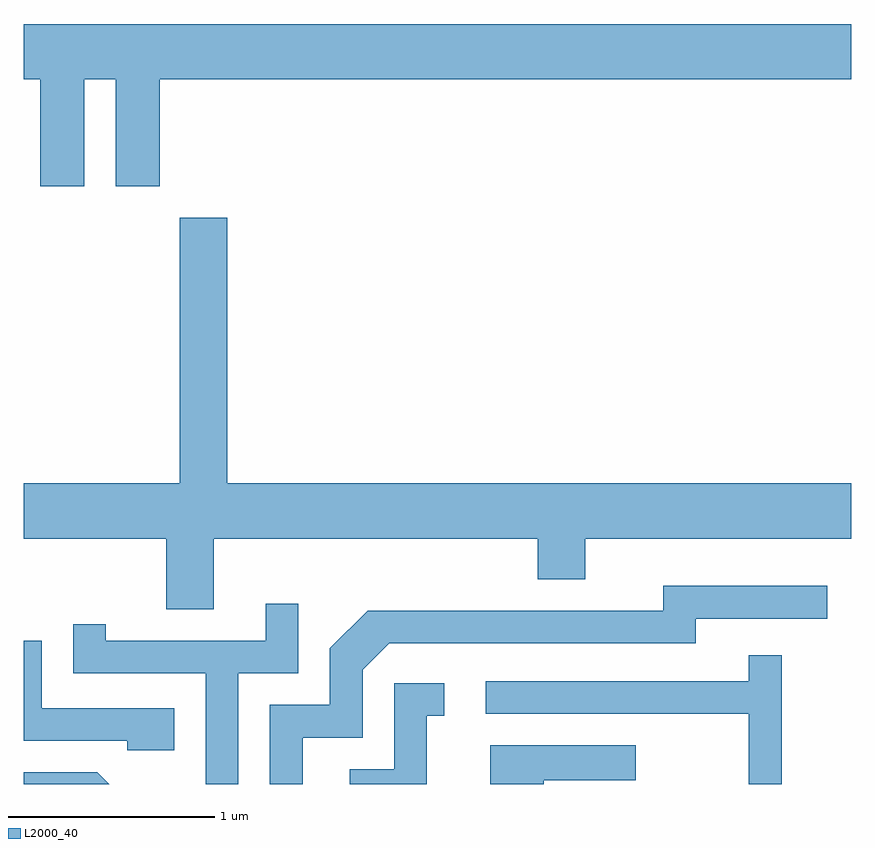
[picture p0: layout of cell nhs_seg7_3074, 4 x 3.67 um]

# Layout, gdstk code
import gdstk
lib = gdstk.Library(unit=1e-6, precision=1e-09)
def P(c, l, *ps):  # polygons
    for p in ps: c.add(gdstk.Polygon(p, *l))
L2000_40 = (2000, 40)

nhs_seg7_3074 = lib.new_cell('nhs_seg7_3074')
P(nhs_seg7_3074, L2000_40, [(279.904,1707.656),(280.056,1707.656),(280.056,1707.141),(280.269,1707.141),(280.269,1707.656),(283.611,1707.656),(283.611,1707.924),(279.611,1707.924),(279.611,1707.656),(279.691,1707.656),(279.691,1707.141),(279.904,1707.141)],
  [(280.529,1705.436),(282.096,1705.436),(282.096,1705.241),(282.324,1705.241),(282.324,1705.436),(283.611,1705.436),(283.611,1705.704),(280.594,1705.704),(280.594,1706.989),(280.366,1706.989),(280.366,1705.704),(279.611,1705.704),(279.611,1705.436),(280.301,1705.436),(280.301,1705.096),(280.529,1705.096)],
  [(280.959,1704.476),(281.249,1704.476),(281.249,1704.804),(281.377,1704.931),(282.859,1704.931),(282.859,1705.051),(283.493,1705.051),(283.493,1705.209),(282.701,1705.209),(282.701,1705.089),(281.274,1705.089),(281.091,1704.907),(281.091,1704.634),(280.801,1704.634),(280.801,1704.252),(280.959,1704.252)],
  [(280.649,1704.786),(280.939,1704.786),(280.939,1705.123),(280.781,1705.123),(280.781,1704.944),(280.009,1704.944),(280.009,1705.023),(279.851,1705.023),(279.851,1704.786),(280.491,1704.786),(280.491,1704.252),(280.649,1704.252)],
  [(280.339,1704.619),(279.699,1704.619),(279.699,1704.944),(279.611,1704.944),(279.611,1704.461),(280.111,1704.461),(280.111,1704.416),(280.339,1704.416)],
  [(283.274,1704.873),(283.116,1704.873),(283.116,1704.749),(281.843,1704.749),(281.843,1704.591),(283.116,1704.591),(283.116,1704.252),(283.274,1704.252)],
  [(281.559,1704.581),(281.643,1704.581),(281.643,1704.739),(281.401,1704.739),(281.401,1704.324),(281.186,1704.324),(281.186,1704.252),(281.559,1704.252)],
  [(282.124,1704.271),(282.568,1704.271),(282.568,1704.439),(281.866,1704.439),(281.866,1704.252),(282.124,1704.252)],
  [(279.967,1704.309),(279.611,1704.309),(279.611,1704.252),(280.024,1704.252)])

lib.write_gds('nhs_seg7_3074.gds')
